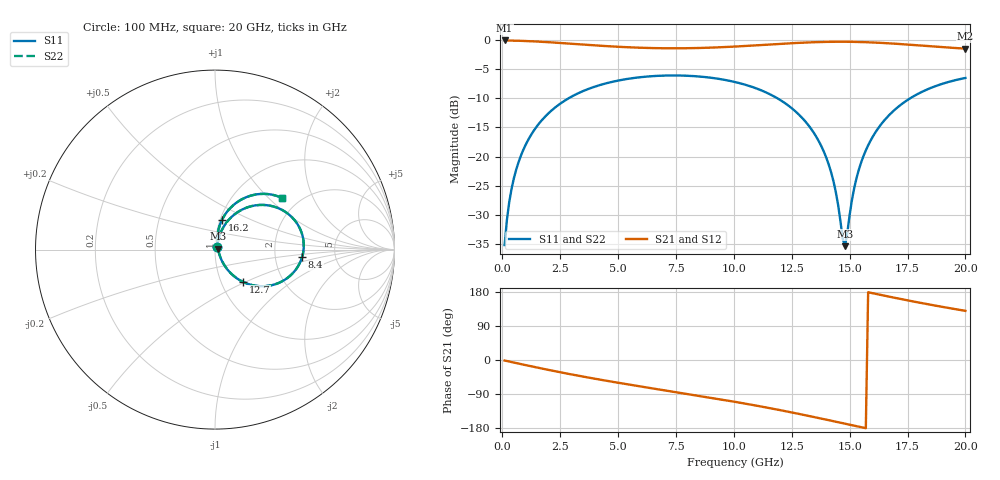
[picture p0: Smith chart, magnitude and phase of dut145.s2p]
! Touchstone file exported from HFSS 2026.1.0
!  File:  C:/ffzhzh/LocalFiles/Ansys_Project_Files/temp_train_TSV_RDL_145_1783051314_46780.aedt
!  Generated:  12:13:00 PM Jul  3, 2026
!  Design:  TSV_RDL
!  Project:  temp_train_TSV_RDL_145_1783051314_46780
! Variables:
!  h_bsmrdl = 5.14um
!  h_ox = 20um
!  h_rdl = 5um
!  h_sub = 92.28um
!  h_tmrdl = 5.57um
!  h_tsv = 92.28um
!  h_via = 3um
!  l_bsmrdl = 211.5um
!  l_sub = 3585.26um
!  l_tmrdl = 601.99um
!  m_sub = 200um
!  pitch = 56.74um
!  r_tsv = 13.97um
!  s_tmrdl = 10um
!  w_bsmrdl = 29.79um
!  w_sub = 500um
!  w_tmrdl = 17.81um
!  x_tsv_center1 = 610.895um
!  x_tsv_center2 = 852.185um
!  x_tsv_center3 = 1471.985um
!  x_tsv_center4 = 1713.275um
!  x_tsv_center5 = 2333.075um
!  x_tsv_center6 = 2574.365um
# GHz S MA R 50.000000
! Terminal data exported
! Port[1] = TM_RDL1_1_T1
! Port[2] = TM_RDL5_1_T1
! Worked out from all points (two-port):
!   200 points, 100 MHz to 20 GHz, reference 50 ohm
!   highest |S21| = -0.10 dB at 100 MHz (marker M1); lowest = -1.5 dB at 20 GHz (marker M2)
!   |S21| within 3 dB of the highest: start of sweep to end of sweep
!   lowest |S11| = -35.4 dB at 14.8 GHz (marker M3), VSWR 1.03, Z = 51.7 + j0.511 ohm
!   |S11| at or under -10 dB: start of sweep to 2.871 GHz; 11.87 GHz to 17.62 GHz (5.75 GHz wide, 39 % of centre)
!   |S22| runs from -35.2 to -6.1 dB; largest |S21 - S12| = 2.1e-14
!   S11 on the Smith chart (normalised r, x): 100 MHz: 1.02, +0.03; 8.4 GHz: 2.86, -0.31; 12.7 GHz: 1.27, -0.49; 16.2 GHz: 1.02, +0.35; 20 GHz: 1.63, +1.21
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0.1  0.01739 48.9  0.9888 -1.4  0.9888 -1.4  0.01739 48.9
! Gamma 0 0 0 0
! Port Impedance 50 0 50 0
0.3  0.0407 68.6  0.9871 -4.1  0.9871 -4.1  0.0407 68.6
0.5  0.06496 71.9  0.9852 -6.8  0.9852 -6.8  0.06496 71.9
1.1  0.1367 69.3  0.9763 -14.7  0.9763 -14.7  0.1367 69.3
2.1  0.2454 58.7  0.9526 -27.4  0.9526 -27.4  0.2454 58.7
3.5  0.3647 43.1  0.9113 -43.9  0.9113 -43.9  0.3647 43.1
6.8  0.4926 10.1  0.8485 -78.0  0.8485 -78.0  0.4926 10.1
8.4  0.4871 -4.9  0.8512 -93.6  0.8512 -93.6  0.487 -4.9
10.1  0.4328 -21.5  0.8776 -110.9  0.8776 -110.9  0.4328 -21.5
11.6  0.3384 -37.1  0.914 -127.6  0.914 -127.6  0.3384 -37.1
12.7  0.2399 -48.9  0.9408 -140.8  0.9408 -140.8  0.2399 -48.9
13.4  0.1657 -55.8  0.9541 -149.7  0.9541 -149.7  0.1656 -55.7
14.2  0.07334 -58.5  0.9628 -160.1  0.9628 -160.1  0.07334 -58.3
14.4  0.05005 -54.7  0.9637 -162.8  0.9637 -162.8  0.05009 -54.3
14.7  0.01984 -19.8  0.9639 -166.7  0.9639 -166.7  0.02007 -19.2
14.8  0.01702 16.9  0.9637 -168.1  0.9637 -168.1  0.01734 17.0
15.1  0.04234 73.0  0.9622 -172.0  0.9622 -172.0  0.04253 72.6
15.4  0.07734 80.0  0.9594 -176.0  0.9594 -176.0  0.07749 79.8
16.2  0.1709 76.7  0.9462 173.6  0.9462 173.6  0.171 76.6
16.7  0.2258 71.9  0.9344 167.2  0.9344 167.2  0.2259 71.8
18.1  0.3566 57.0  0.8936 150.3  0.8936 150.3  0.3566 57.0
20  0.4713 37.7  0.8416 129.7  0.8416 129.7  0.4714 37.6
